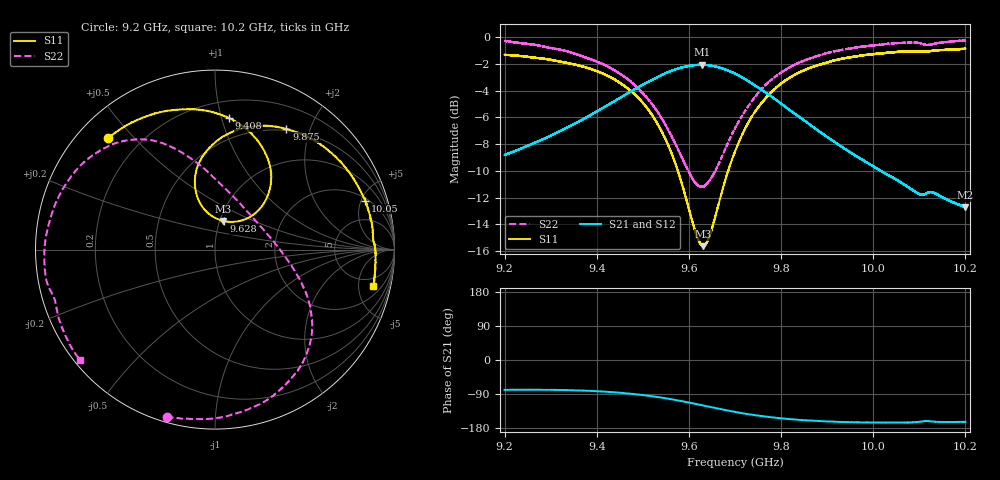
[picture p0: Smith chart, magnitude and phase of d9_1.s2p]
!Agilent Technologies,N5242A,MY51221714,A.09.90.19
!Agilent N5242A: A.09.90.19
!Date: Tuesday, March 26, 2024 16:25:55
!Correction: S11(Full 2 Port(1,2))
!S21(Full 2 Port(1,2))
!S12(Full 2 Port(1,2))
!S22(Full 2 Port(1,2))
!S2P File: Measurements: S11, S21, S12, S22:
# Hz S  dB  R 50
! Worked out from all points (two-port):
!   16001 points, 9.2 GHz to 10.2 GHz, reference 50 ohm
!   highest |S21| = -2.05 dB at 9.629 GHz (marker M1); lowest = -12.7 dB at 10.2 GHz (marker M2)
!   |S21| within 3 dB of the highest: 9.425191 GHz to 9.425366 GHz (175.3 kHz wide, 0.00186 % of centre); 9.425 GHz to 9.803 GHz (378 MHz wide, 3.93 % of centre)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
!   lowest |S11| = -15.6 dB at 9.63 GHz (marker M3), VSWR 1.40, Z = 51.8 + j17 ohm
!   |S11| at or under -10 dB: 9.575852 GHz to 9.576056 GHz (204.6 kHz wide, 0.00214 % of centre); 9.576 GHz to 9.685 GHz (108.9 MHz wide, 1.13 % of centre)
!   |S22| runs from -11.2 to -0.2 dB; largest |S21 - S12| = 0.0099
!   S11 on the Smith chart (normalised r, x): 9.2 GHz: 0.09, +0.42; 9.408 GHz: 0.33, +1.06; 9.628 GHz: 1.05, +0.34; 9.875 GHz: 0.48, +1.65; 10.05 GHz: 2.23, +5.39; 10.2 GHz: 3.21, -7.35
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9.2e9  -1.31 133.9  -8.80 -78.8  -8.77 -79.6  -0.28 -106.0
9.278562e9  -1.59 116.3  -7.69 -78.6  -7.69 -79.2  -0.64 -85.2
9.366688e9  -2.16 95.0  -6.20 -80.7  -6.18 -81.3  -1.40 -63.0
9.408375e9  -2.65 83.9  -5.38 -83.0  -5.37 -83.6  -1.94 -52.8
9.480062e9  -4.21 63.7  -3.93 -89.9  -3.93 -90.5  -3.51 -36.0
9.533375e9  -6.57 48.9  -2.95 -97.9  -2.95 -98.5  -5.64 -21.6
9.586688e9  -11.22 42.5  -2.24 -109.2  -2.23 -109.7  -9.13 2.8
9.62825e9  -15.58 71.8  -2.06 -119.4  -2.05 -119.9  -11.20 42.8
9.628812e9  -15.58 72.5  -2.05 -119.4  -2.06 -120.0  -11.17 43.3
9.6305e9  -15.62 74.5  -2.06 -120.0  -2.07 -120.4  -11.17 45.2
9.64575e9  -14.77 92.9  -2.11 -123.8  -2.12 -124.3  -10.69 61.7
9.7e9  -8.55 107.4  -2.72 -136.9  -2.71 -137.4  -6.80 97.8
9.737312e9  -5.90 99.1  -3.48 -144.5  -3.46 -145.1  -4.74 109.5
9.78725e9  -3.84 84.4  -4.64 -152.2  -4.64 -152.8  -2.94 121.0
9.866688e9  -2.25 61.6  -6.64 -160.2  -6.64 -160.7  -1.53 137.7
9.874625e9  -2.15 59.4  -6.85 -160.7  -6.83 -161.2  -1.45 139.5
9.960812e9  -1.44 37.7  -8.83 -164.3  -8.83 -164.8  -0.78 159.0
1.003338e10  -1.16 21.0  -10.33 -165.2  -10.32 -165.8  -0.49 176.3
1.004638e10  -1.11 18.1  -10.57 -165.2  -10.57 -165.7  -0.45 179.4
1.009725e10  -1.06 7.2  -11.67 -163.5  -11.68 -164.0  -0.42 -168.5
1.019938e10  -0.88 -12.9  -12.72 -163.2  -12.70 -163.7  -0.25 -140.9
1.02e10  -0.85 -13.1  -12.70 -163.2  -12.72 -163.7  -0.25 -140.8
